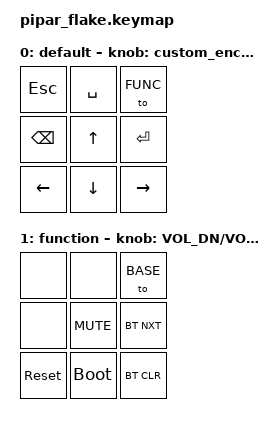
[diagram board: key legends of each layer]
/*
 * Copyright (c) 2022 The ZMK Contributors
 *
 * SPDX-License-Identifier: MIT
 */

#include <behaviors.dtsi>
#include <dt-bindings/zmk/keys.h>
#include <dt-bindings/zmk/bt.h>
#include <dt-bindings/zmk/outputs.h>

#define BASE        0
#define FUNC        1

/ {
  // Định nghĩa behavior tùy chỉnh cho encoder
  behaviors {
    custom_encoder: custom_encoder {
      compatible = "zmk,behavior-sensor-rotate";
      label = "CUSTOM_ENCODER";
      #sensor-binding-cells = <0>;
      bindings = <&kp>, <&kp>;
    };
  };

  sensors: sensors {
    compatible = "zmk,keymap-sensors";
    sensors = <&encoder_1>;
    triggers-per-rotation = <20>;
  };

  keymap {
    compatible = "zmk,keymap";

    default_layer {
        // ---------------------------//
        // | ESC  | SPACE | Layer 2 | //
        // | BSPC | UP    |  ENTER  | //
        // | LEFT | DOWN  | RIGHT   | //
        display-name = "default";
        bindings = <
            &kp ESC  &kp SPACE  &to FUNC
            &kp BSPC &kp UP     &kp ENTER
            &kp LEFT &kp DOWN   &kp RIGHT
        >;

      // Xoay phải: A + 9, Xoay trái: A + 0
      sensor-bindings = <&custom_encoder>;
    };

    function_layer {
        // --------------------------- //
        // | none | none | Layer 2 |   //
        // | none | MUTE |  bt_nxt   |   //
        // | reset | boot | bt_clr |   //
        display-name = "function";
        bindings = <
        &none       &none       &to BASE
        &none       &kp C_MUTE  &bt BT_NXT
        &sys_reset  &bootloader &bt BT_CLR
        >;

      sensor-bindings = <&inc_dec_kp C_VOL_DN  C_VOL_UP>;
    };
  };
};
